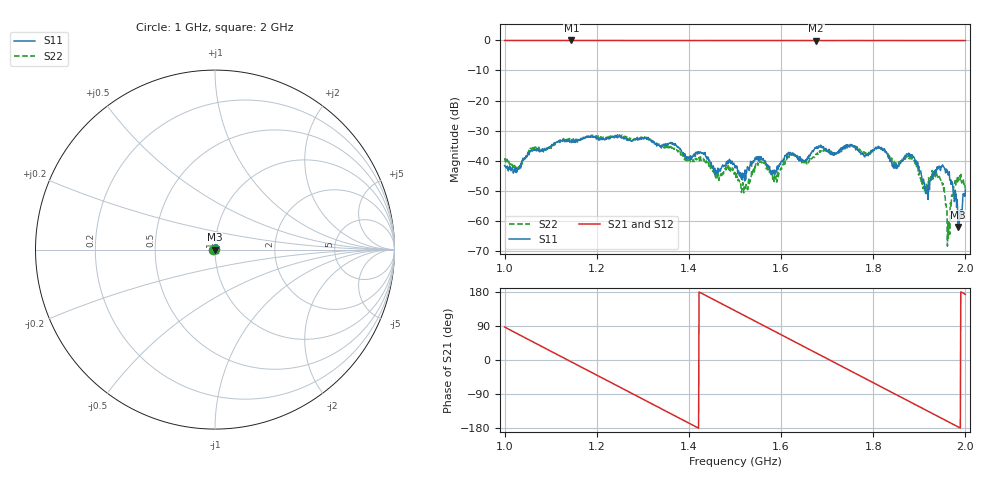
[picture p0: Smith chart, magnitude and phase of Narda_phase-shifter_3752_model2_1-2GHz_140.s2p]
#  HZ  S  DB  R  50.00
! Rohde & Schwarz Vector Network Analyzer
! Rohde-Schwarz,ZNB8-4Port,1311601044102961,2.82
! Created: UTC 1/17/2019, 2:37:24 PM
! freq[Hz]  db:S11  ang:S11  db:S21  ang:S21  db:S12  ang:S12  db:S22  ang:S22
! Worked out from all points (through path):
!   1001 points, 1 GHz to 2 GHz, reference 50 ohm
!   highest |S21| = -0.07 dB at 1.145 GHz (marker M1); lowest = -0.1 dB at 1.676 GHz (marker M2)
!   group delay of S21, straight-line fit = 1.76 ns
!   lowest |S11| = -62.0 dB at 1.984 GHz (marker M3), VSWR 1.00, Z = 49.9 + j0.0474 ohm
!   |S11| at or under -10 dB: start of sweep to end of sweep
!   |S22| runs from -68.3 to -31.3 dB; largest |S21 - S12| = 0.011
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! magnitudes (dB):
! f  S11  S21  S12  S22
! 1 GHz  -41.6  -0.1  -0.1  -39.8
! 1.03 GHz  -42.6  -0.1  -0.1  -42.7
! 1.057 GHz  -36.7  -0.1  -0.1  -35.8
! 1.145 GHz  -34.0  -0.1  -0.1  -33.0
! 1.167 GHz  -32.9  -0.1  -0.1  -32.7
! 1.334 GHz  -34.7  -0.1  -0.1  -34.9
! 1.43 GHz  -37.5  -0.1  -0.1  -39.3
! 1.459 GHz  -43.7  -0.1  -0.1  -44.5
! 1.5 GHz  -42.3  -0.1  -0.1  -44.4
! 1.523 GHz  -46.2  -0.1  -0.1  -49.1
! 1.552 GHz  -38.6  -0.1  -0.1  -40.2
! 1.586 GHz  -44.4  -0.1  -0.1  -44.2
! 1.621 GHz  -37.3  -0.1  -0.1  -38.3
! 1.667 GHz  -37.1  -0.1  -0.1  -39.1
! 1.676 GHz  -35.8  -0.1  -0.1  -37.7
! 1.834 GHz  -39.2  -0.1  -0.1  -38.1
! 1.884 GHz  -38.1  -0.1  -0.1  -39.4
! 1.917 GHz  -50.1  -0.1  -0.1  -49.3
! 1.941 GHz  -42.1  -0.1  -0.1  -45.5
! 1.962 GHz  -44.6  -0.1  -0.1  -60.1
! 1.984 GHz  -62.0  -0.1  -0.1  -45.5
! 2 GHz  -49.4  -0.1  -0.1  -49.2
